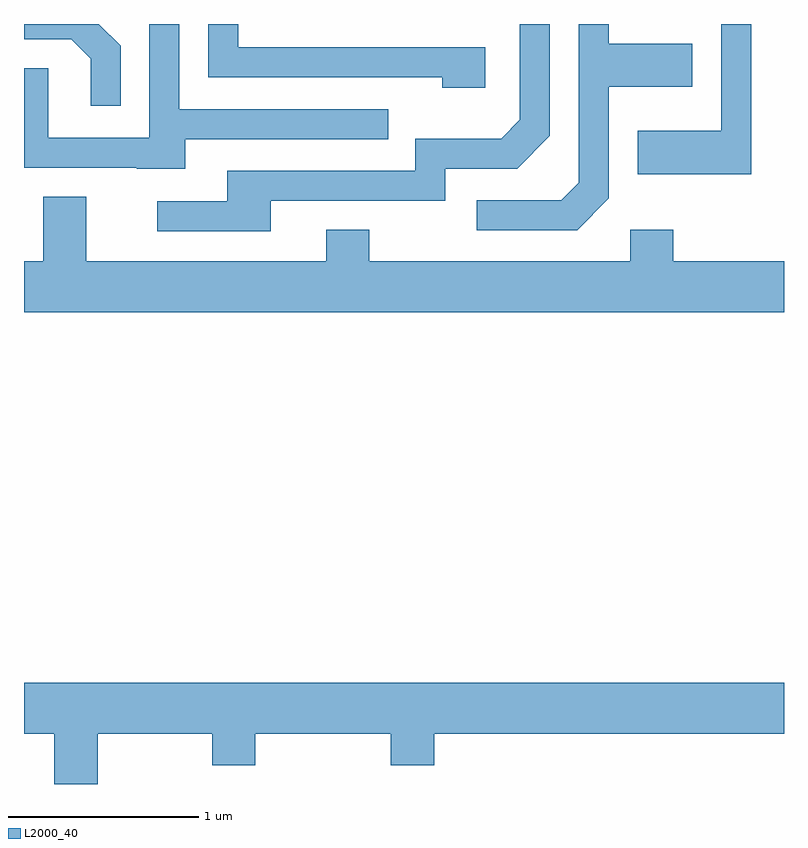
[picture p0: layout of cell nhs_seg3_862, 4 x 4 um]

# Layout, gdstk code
import gdstk
lib = gdstk.Library(unit=1e-6, precision=1e-09)
def P(c, l, *ps):  # polygons
    for p in ps: c.add(gdstk.Polygon(p, *l))
L2000_40 = (2000, 40)

nhs_seg3_862 = lib.new_cell('nhs_seg3_862')
P(nhs_seg3_862, L2000_40, [(210.909,1210.961),(211.829,1210.961),(211.829,1211.131),(212.207,1211.131),(212.379,1211.304),(212.379,1211.892),(212.221,1211.892),(212.221,1211.387),(212.124,1211.289),(211.671,1211.289),(211.671,1211.119),(210.681,1211.119),(210.681,1210.959),(210.313,1210.959),(210.313,1210.801),(210.909,1210.801)],
  [(212.689,1210.974),(212.689,1211.561),(213.129,1211.561),(213.129,1211.789),(212.689,1211.789),(212.689,1211.892),(212.531,1211.892),(212.531,1211.057),(212.439,1210.964),(211.993,1210.964),(211.993,1210.806),(212.522,1210.806)],
  [(210.119,1211.777),(210.004,1211.892),(209.611,1211.892),(209.611,1211.811),(209.859,1211.811),(209.961,1211.709),(209.961,1211.463),(210.119,1211.463)],
  [(213.439,1211.892),(213.281,1211.892),(213.281,1211.329),(212.841,1211.329),(212.841,1211.101),(213.439,1211.101)],
  [(212.039,1211.769),(210.739,1211.769),(210.739,1211.892),(210.581,1211.892),(210.581,1211.611),(211.811,1211.611),(211.811,1211.556),(212.039,1211.556)],
  [(210.459,1211.286),(211.528,1211.286),(211.528,1211.444),(210.429,1211.444),(210.429,1211.892),(210.271,1211.892),(210.271,1211.294),(209.739,1211.294),(209.739,1211.659),(209.611,1211.659),(209.611,1211.136),(210.205,1211.136),(210.205,1211.131),(210.459,1211.131)],
  [(213.611,1210.644),(213.029,1210.644),(213.029,1210.809),(212.801,1210.809),(212.801,1210.644),(211.429,1210.644),(211.429,1210.809),(211.201,1210.809),(211.201,1210.644),(209.939,1210.644),(209.939,1210.984),(209.711,1210.984),(209.711,1210.644),(209.611,1210.644),(209.611,1210.376),(213.611,1210.376)],
  [(209.999,1208.156),(210.601,1208.156),(210.601,1207.991),(210.829,1207.991),(210.829,1208.156),(211.541,1208.156),(211.541,1207.991),(211.769,1207.991),(211.769,1208.156),(213.611,1208.156),(213.611,1208.424),(209.611,1208.424),(209.611,1208.156),(209.771,1208.156),(209.771,1207.892),(209.999,1207.892)])

lib.write_gds('nhs_seg3_862.gds')
